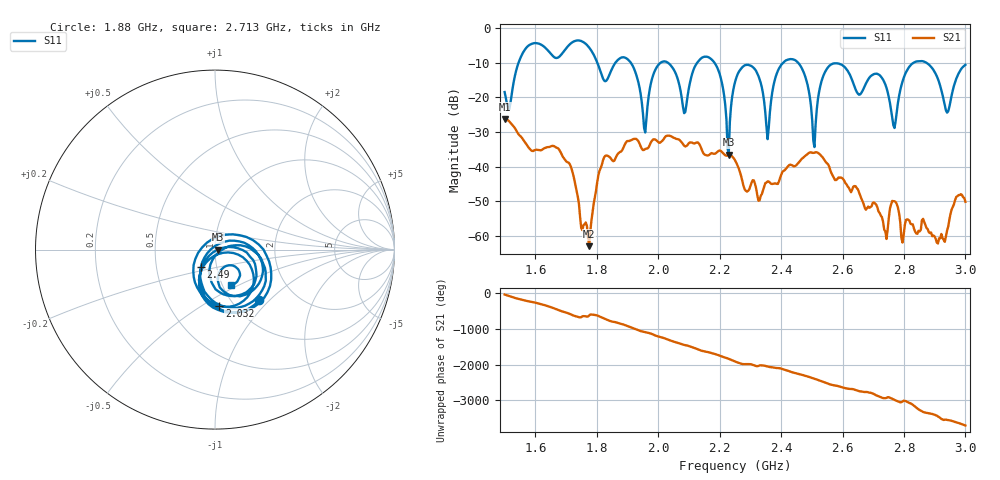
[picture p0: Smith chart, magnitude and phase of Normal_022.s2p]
# HZ S RI R 50
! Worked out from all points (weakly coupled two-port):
!   404 points, 1.5 GHz to 3 GHz, reference 50 ohm
!   highest |S21| = -26.20 dB at 1.5 GHz (marker M1); lowest = -62.9 dB at 1.775 GHz (marker M2)
!   lowest |S11| = -36.5 dB at 2.23 GHz (marker M3), VSWR 1.03, Z = 51.5 + j0.000734 ohm
!   |S11| at or under -10 dB: 2.183 GHz to 2.407 GHz (223.8 MHz wide, 9.75 % of centre); 2.455 GHz to 2.831 GHz (376.2 MHz wide, 14.2 % of centre); 2.873 GHz to end of sweep (the widest 3 of 7)
!   S12 and S22 are empty: the file has one direction only
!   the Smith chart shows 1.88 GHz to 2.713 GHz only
!   S11 on the Smith chart (normalised r, x): 1.88 GHz: 1.32, -0.87; 2.032 GHz: 0.86, -0.60; 2.49 GHz: 0.84, -0.17; 2.713 GHz: 1.09, -0.46
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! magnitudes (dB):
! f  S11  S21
! 1.5 GHz  -18.5  -26.2
! 1.679 GHz  -8.2  -35.2
! 1.753 GHz  -3.9  -58.3
! 1.775 GHz  -5.6  -62.9
! 1.88 GHz  -8.5  -35.6
! 1.958 GHz  -30.1  -34.9
! 2.002 GHz  -10.4  -33.1
! 2.032 GHz  -10.0  -31.0
! 2.084 GHz  -24.5  -33.9
! 2.177 GHz  -9.4  -36.2
! 2.23 GHz  -36.5  -36.6
! 2.252 GHz  -15.0  -38.5
! 2.33 GHz  -14.8  -49.7
! 2.356 GHz  -32.0  -44.2
! 2.412 GHz  -9.6  -41.0
! 2.49 GHz  -18.0  -36.0
! 2.501 GHz  -26.5  -36.0
! 2.561 GHz  -10.6  -41.2
! 2.713 GHz  -13.2  -51.6
! 2.751 GHz  -19.9  -54.8
! 2.94 GHz  -24.4  -58.4
! 3 GHz  -10.6  -50.1
